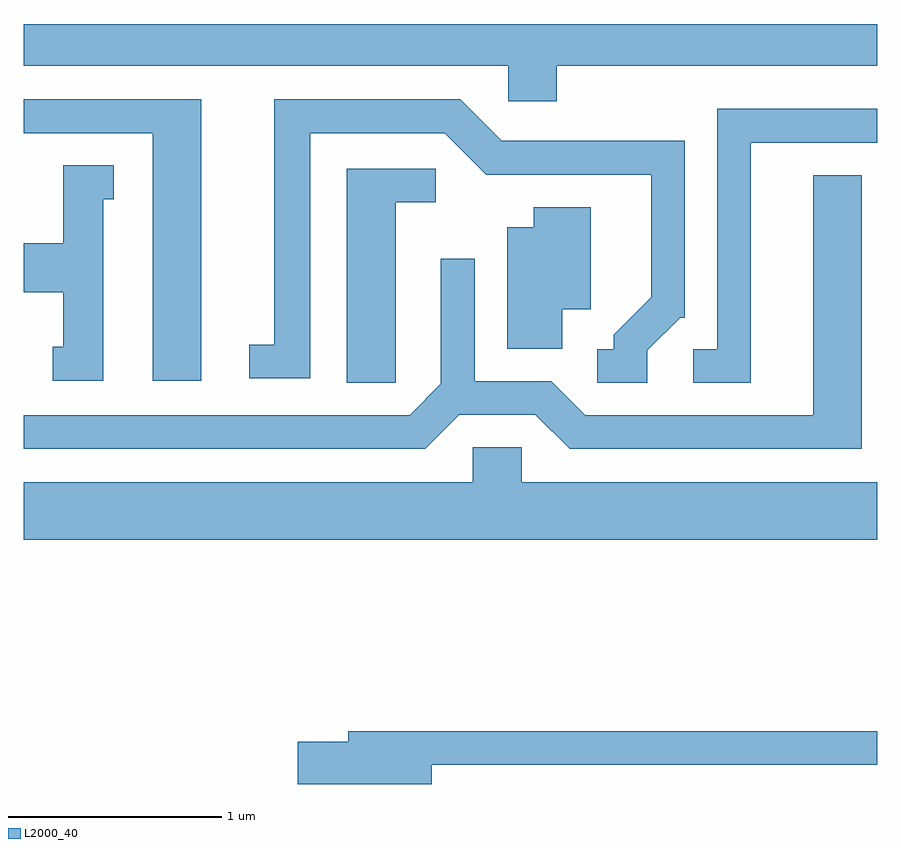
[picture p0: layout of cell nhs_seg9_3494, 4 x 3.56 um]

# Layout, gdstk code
import gdstk
lib = gdstk.Library(unit=1e-6, precision=1e-09)
def P(c, l, *ps):  # polygons
    for p in ps: c.add(gdstk.Polygon(p, *l))
L2000_40 = (2000, 40)

nhs_seg9_3494 = lib.new_cell('nhs_seg9_3494')
P(nhs_seg9_3494, L2000_40, [(290.109,2016.236),(291.611,2016.236),(291.611,2016.432),(287.611,2016.432),(287.611,2016.236),(289.881,2016.236),(289.881,2016.071),(290.109,2016.071)],
  [(288.444,2016.079),(287.611,2016.079),(287.611,2015.921),(288.216,2015.921),(288.216,2014.761),(288.444,2014.761)],
  [(290.534,2014.904),(290.687,2015.056),(290.709,2015.056),(290.709,2015.884),(289.852,2015.884),(289.657,2016.079),(288.786,2016.079),(288.786,2014.929),(288.668,2014.929),(288.668,2014.771),(288.954,2014.771),(288.954,2015.921),(289.584,2015.921),(289.779,2015.726),(290.551,2015.726),(290.551,2015.152),(290.376,2014.977),(290.376,2014.909),(290.298,2014.909),(290.298,2014.751),(290.534,2014.751)],
  [(291.019,2015.876),(291.611,2015.876),(291.611,2016.034),(290.861,2016.034),(290.861,2014.909),(290.748,2014.909),(290.748,2014.751),(291.019,2014.751)],
  [(287.984,2015.611),(288.033,2015.611),(288.033,2015.769),(287.796,2015.769),(287.796,2015.404),(287.611,2015.404),(287.611,2015.176),(287.796,2015.176),(287.796,2014.919),(287.748,2014.919),(287.748,2014.761),(287.984,2014.761)],
  [(289.354,2015.596),(289.543,2015.596),(289.543,2015.754),(289.126,2015.754),(289.126,2014.751),(289.354,2014.751)],
  [(289.652,2014.601),(290.009,2014.601),(290.169,2014.441),(291.539,2014.441),(291.539,2015.724),(291.311,2015.724),(291.311,2014.599),(290.242,2014.599),(290.082,2014.759),(289.724,2014.759),(289.724,2015.333),(289.566,2015.333),(289.566,2014.747),(289.419,2014.599),(287.611,2014.599),(287.611,2014.441),(289.492,2014.441)],
  [(290.134,2015.096),(290.269,2015.096),(290.269,2015.574),(290.001,2015.574),(290.001,2015.479),(289.876,2015.479),(289.876,2014.911),(290.134,2014.911)],
  [(291.611,2014.284),(289.944,2014.284),(289.944,2014.449),(289.716,2014.449),(289.716,2014.284),(287.611,2014.284),(287.611,2014.016),(291.611,2014.016)],
  [(289.524,2012.961),(291.611,2012.961),(291.611,2013.119),(289.131,2013.119),(289.131,2013.069),(288.896,2013.069),(288.896,2012.871),(289.524,2012.871)])

lib.write_gds('nhs_seg9_3494.gds')
